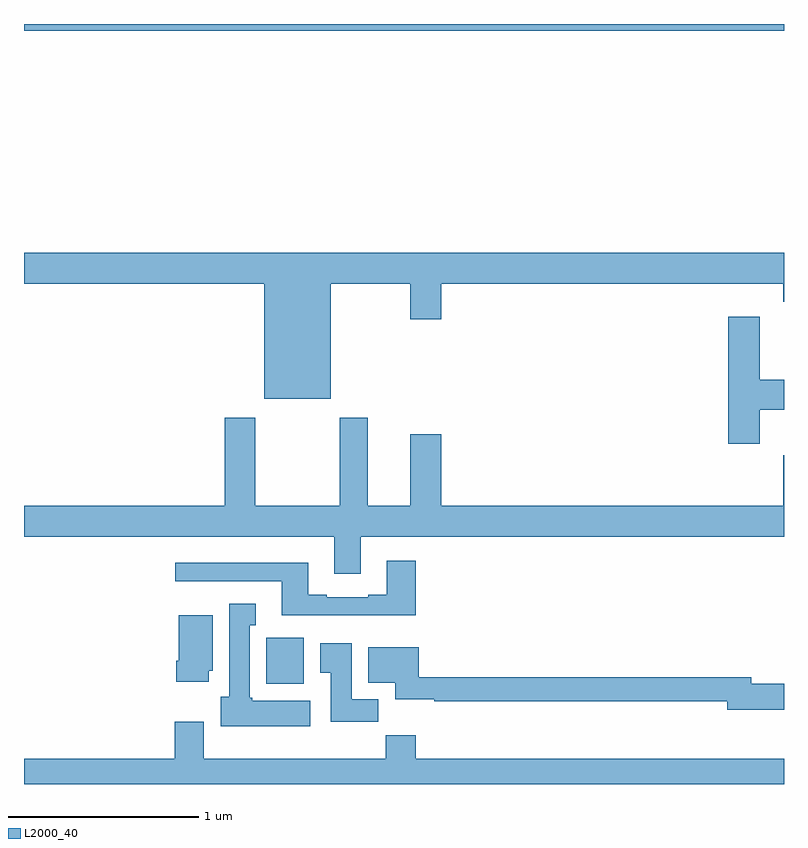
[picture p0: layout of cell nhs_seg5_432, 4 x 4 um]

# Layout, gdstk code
import gdstk
lib = gdstk.Library(unit=1e-6, precision=1e-09)
def R(c, l, rs):  # rectangles x0, y0, x1, y1
    for r in rs: c.add(gdstk.rectangle(r[:2], r[2:], *l))
def P(c, l, *ps):  # polygons
    for p in ps: c.add(gdstk.Polygon(p, *l))
L2000_40 = (2000, 40)

nhs_seg5_432 = lib.new_cell('nhs_seg5_432')
R(nhs_seg5_432, L2000_40, [(140.276,849.326,140.473,849.568), (139,852.764,143,852.799)])
P(nhs_seg5_432, L2000_40, [(140.614,851.432),(141.032,851.432),(141.032,851.244),(141.196,851.244),(141.196,851.432),(142.997,851.432),(142.997,851.336),(143,851.336),(143,851.596),(139,851.596),(139,851.432),(140.264,851.432),(140.264,850.826),(140.614,850.826)],
  [(142.873,850.769),(143,850.769),(143,850.927),(142.873,850.927),(142.873,851.257),(142.706,851.257),(142.706,850.59),(142.873,850.59)],
  [(140.773,850.1),(143,850.1),(143,850.529),(142.997,850.529),(142.997,850.264),(141.196,850.264),(141.196,850.639),(141.032,850.639),(141.032,850.264),(140.809,850.264),(140.809,850.726),(140.662,850.726),(140.662,850.264),(140.217,850.264),(140.217,850.726),(140.057,850.726),(140.057,850.264),(139,850.264),(139,850.1),(140.633,850.1),(140.633,849.906),(140.773,849.906)],
  [(141.062,849.973),(140.909,849.973),(140.909,849.796),(140.813,849.796),(140.813,849.783),(140.593,849.783),(140.593,849.796),(140.497,849.796),(140.497,849.964),(139.797,849.964),(139.797,849.867),(140.357,849.867),(140.357,849.686),(141.062,849.686)],
  [(140.506,849.238),(140.202,849.238),(140.202,849.252),(140.188,849.252),(140.188,849.635),(140.221,849.635),(140.221,849.748),(140.081,849.748),(140.081,849.258),(140.036,849.258),(140.036,849.104),(140.506,849.104)],
  [(139.972,849.396),(139.993,849.396),(139.993,849.688),(139.814,849.688),(139.814,849.448),(139.802,849.448),(139.802,849.336),(139.972,849.336)],
  [(140.864,849.244),(140.725,849.244),(140.725,849.541),(140.558,849.541),(140.558,849.385),(140.615,849.385),(140.615,849.126),(140.864,849.126)],
  [(143,849.326),(142.828,849.326),(142.828,849.362),(141.077,849.362),(141.077,849.52),(140.813,849.52),(140.813,849.332),(140.954,849.332),(140.954,849.245),(141.16,849.245),(141.16,849.234),(142.7,849.234),(142.7,849.191),(143,849.191)],
  [(143,848.932),(141.062,848.932),(141.062,849.056),(140.905,849.056),(140.905,848.932),(139.945,848.932),(139.945,849.127),(139.793,849.127),(139.793,848.932),(139,848.932),(139,848.799),(143,848.799)])

lib.write_gds('nhs_seg5_432.gds')
